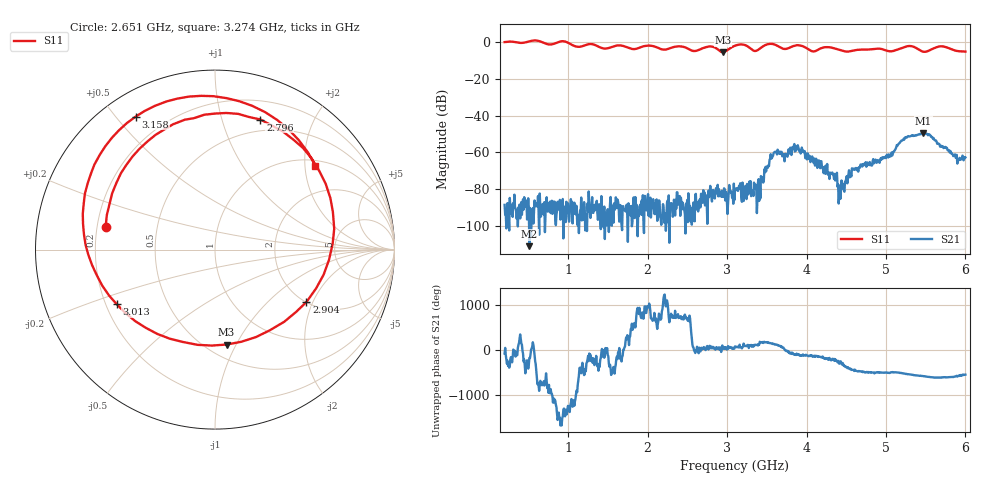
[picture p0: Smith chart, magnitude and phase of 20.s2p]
! NanoVNA-App
! Date: 2024-06-25 16:11:24
! Start: 200MHz Stop: 6GHz Points: 801
! S-Parameter data: F S11 S21 S12 S22
# Hz S RI R 50
!  Frequency  S11_Real  S11_Imag  S21_Real  S21_Imag  S12_Real  S12_Imag  S22_Real  S22_Imag
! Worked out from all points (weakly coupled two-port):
!   801 points, 200 MHz to 6 GHz, reference 50 ohm
!   highest |S21| = -49.46 dB at 5.471 GHz (marker M1); lowest = -111.3 dB at 511.8 MHz (marker M2)
!   lowest |S11| = -5.5 dB at 2.948 GHz (marker M3), VSWR 3.28, Z = 31 - j45.8 ohm
!   |S11| at or under -10 dB: nowhere
!   S12 and S22 are empty: the file has one direction only
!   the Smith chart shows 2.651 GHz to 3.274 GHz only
!   S11 on the Smith chart (normalised r, x): 2.651 GHz: 0.23, +0.10; 2.796 GHz: 0.38, +1.34; 2.904 GHz: 2.01, -1.79; 3.013 GHz: 0.24, -0.24; 3.158 GHz: 0.10, +0.56; 3.274 GHz: 1.14, +2.27
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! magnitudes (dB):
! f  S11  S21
! 200 MHz  0.0  -88.7
! 511.8 MHz  0.5  -111.3
! 1.171 GHz  -2.3  -97.2
! 2.136 GHz  -3.2  -87.5
! 2.651 GHz  -4.1  -86.6
! 2.796 GHz  -2.3  -81.9
! 2.904 GHz  -4.6  -84.0
! 2.948 GHz  -5.5  -83.1
! 3.013 GHz  -4.1  -87.3
! 3.1 GHz  -1.9  -80.0
! 3.158 GHz  -1.3  -79.9
! 3.274 GHz  -2.7  -81.2
! 3.39 GHz  -4.2  -76.5
! 3.615 GHz  -1.6  -60.0
! 3.869 GHz  -1.7  -59.2
! 4.072 GHz  -5.0  -62.3
! 4.42 GHz  -4.3  -78.3
! 4.601 GHz  -4.4  -69.7
! 5.036 GHz  -4.9  -61.2
! 5.253 GHz  -2.4  -51.9
! 5.471 GHz  -5.2  -49.5
! 6 GHz  -5.1  -62.9
